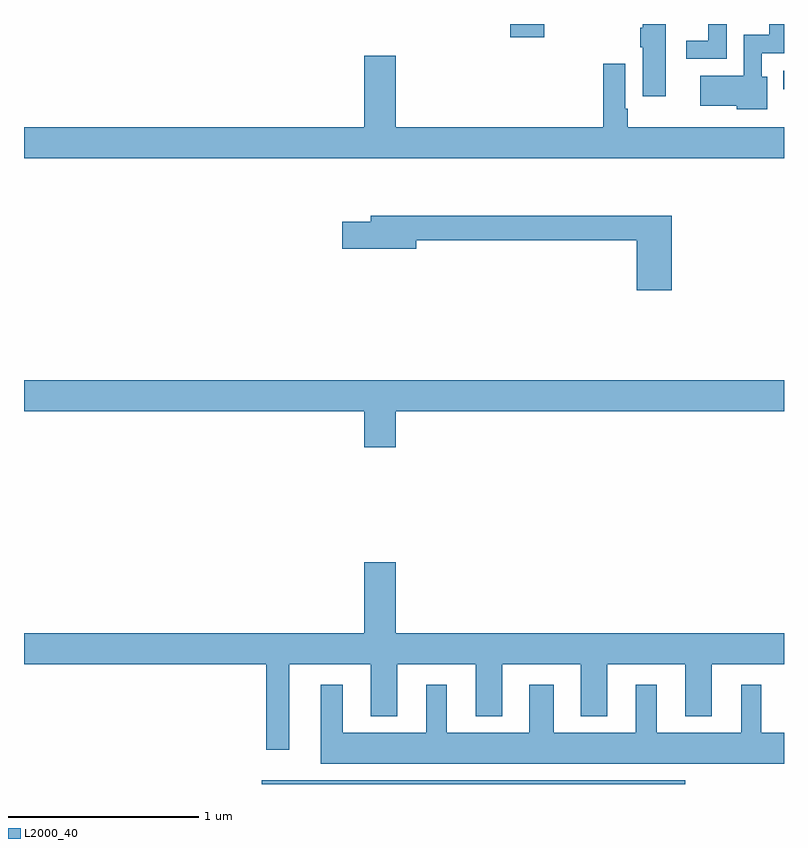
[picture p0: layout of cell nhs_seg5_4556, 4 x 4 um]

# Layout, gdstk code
import gdstk
lib = gdstk.Library(unit=1e-6, precision=1e-09)
def R(c, l, rs):  # rectangles x0, y0, x1, y1
    for r in rs: c.add(gdstk.rectangle(r[:2], r[2:], *l))
def P(c, l, *ps):  # polygons
    for p in ps: c.add(gdstk.Polygon(p, *l))
L2000_40 = (2000, 40)

nhs_seg5_4556 = lib.new_cell('nhs_seg5_4556')
R(nhs_seg5_4556, L2000_40, [(380.25,854.799,382.48,854.818), (382.997,858.455,383,858.552), (381.56,858.729,381.738,858.799)])
P(nhs_seg5_4556, L2000_40, [(382.912,858.522),(382.884,858.522),(382.884,858.645),(383,858.645),(383,858.799),(382.922,858.799),(382.922,858.742),(382.788,858.742),(382.788,858.526),(382.56,858.526),(382.56,858.368),(382.752,858.368),(382.752,858.35),(382.912,858.35)],
  [(382.378,858.799),(382.256,858.799),(382.256,858.779),(382.244,858.779),(382.244,858.676),(382.256,858.676),(382.256,858.42),(382.378,858.42)],
  [(382.698,858.799),(382.602,858.799),(382.602,858.711),(382.485,858.711),(382.485,858.615),(382.698,858.615)],
  [(383,858.256),(382.177,858.256),(382.177,858.352),(382.164,858.352),(382.164,858.589),(382.048,858.589),(382.048,858.256),(380.956,858.256),(380.956,858.631),(380.792,858.631),(380.792,858.256),(379,858.256),(379,858.092),(383,858.092)],
  [(382.409,857.791),(380.825,857.791),(380.825,857.757),(380.676,857.757),(380.676,857.615),(381.064,857.615),(381.064,857.662),(382.226,857.662),(382.226,857.397),(382.409,857.397)],
  [(380.956,856.76),(383,856.76),(383,856.924),(379,856.924),(379,856.76),(380.792,856.76),(380.792,856.572),(380.956,856.572)],
  [(380.395,855.428),(380.825,855.428),(380.825,855.155),(380.965,855.155),(380.965,855.428),(381.377,855.428),(381.377,855.155),(381.517,855.155),(381.517,855.428),(381.929,855.428),(381.929,855.155),(382.069,855.155),(382.069,855.428),(382.481,855.428),(382.481,855.155),(382.621,855.155),(382.621,855.428),(383,855.428),(383,855.592),(380.956,855.592),(380.956,855.967),(380.792,855.967),(380.792,855.592),(379,855.592),(379,855.428),(380.274,855.428),(380.274,854.979),(380.395,854.979)],
  [(383,855.07),(382.879,855.07),(382.879,855.322),(382.775,855.322),(382.775,855.07),(382.33,855.07),(382.33,855.322),(382.22,855.322),(382.22,855.07),(381.787,855.07),(381.787,855.322),(381.659,855.322),(381.659,855.07),(381.226,855.07),(381.226,855.322),(381.116,855.322),(381.116,855.07),(380.677,855.07),(380.677,855.322),(380.561,855.322),(380.561,854.906),(383,854.906)])

lib.write_gds('nhs_seg5_4556.gds')
